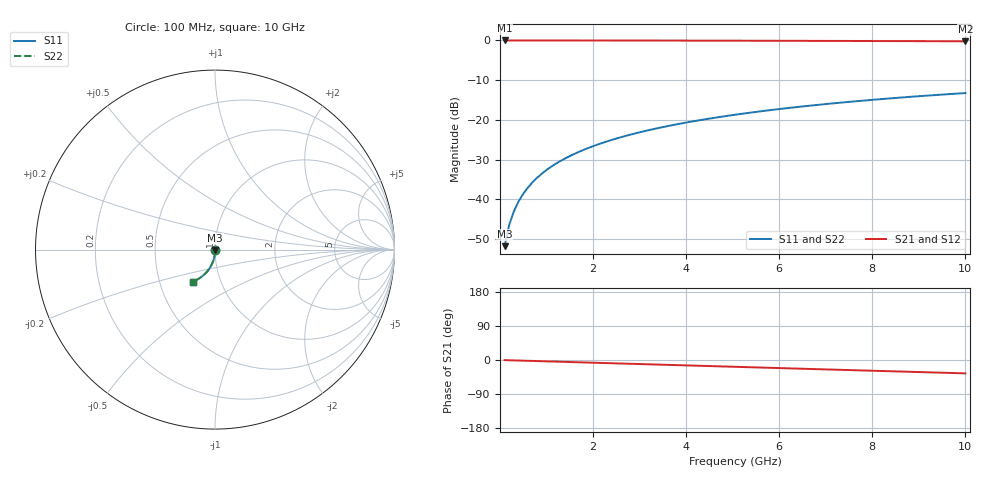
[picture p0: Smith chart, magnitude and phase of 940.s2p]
# Hz S RI R 50.00
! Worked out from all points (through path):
!   100 points, 100 MHz to 10 GHz, reference 50 ohm
!   highest |S21| = -0.01 dB at 100 MHz (marker M1); lowest = -0.2 dB at 10 GHz (marker M2)
!   group delay of S21, straight-line fit = 9.81 ps
!   lowest |S11| = -51.8 dB at 100 MHz (marker M3), VSWR 1.01, Z = 50.1 - j0.234 ohm
!   |S11| at or under -10 dB: start of sweep to end of sweep
!   |S22| runs from -51.8 to -13.3 dB; largest |S21 - S12| = 0
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1e8  0.00105 -0.00234  0.9989 -0.0062  0.9989 -0.0062  0.00105 -0.00234
2e8  0.00101 -0.00468  0.9988 -0.0124  0.9988 -0.0124  0.00101 -0.00468
3e8  0.00094 -0.00701  0.9987 -0.0186  0.9987 -0.0186  0.00094 -0.00701
4e8  0.000839 -0.00935  0.9985 -0.0248  0.9985 -0.0248  0.000839 -0.00935
5e8  0.000708 -0.0117  0.9983 -0.031  0.9983 -0.031  0.000708 -0.0117
6e8  0.000548 -0.014  0.9981 -0.0372  0.9981 -0.0372  0.000548 -0.014
7e8  0.000358 -0.0164  0.9978 -0.0434  0.9978 -0.0434  0.000358 -0.0164
8e8  0.00014 -0.0187  0.9975 -0.0496  0.9975 -0.0496  0.00014 -0.0187
9e8  -0.000108 -0.021  0.9971 -0.0558  0.9971 -0.0558  -0.000108 -0.021
1.1e9  -0.00069 -0.0257  0.9962 -0.0681  0.9962 -0.0681  -0.00069 -0.0257
1.4e9  -0.00178 -0.0326  0.9945 -0.0867  0.9945 -0.0867  -0.00178 -0.0326
1.8e9  -0.00363 -0.0418  0.9917 -0.1113  0.9917 -0.1113  -0.00363 -0.0418
2.1e9  -0.00532 -0.0486  0.9891 -0.1297  0.9891 -0.1297  -0.00532 -0.0486
2.5e9  -0.00796 -0.0576  0.9851 -0.1541  0.9851 -0.1541  -0.00796 -0.0576
2.9e9  -0.011 -0.0664  0.9804 -0.1784  0.9804 -0.1784  -0.011 -0.0664
3.4e9  -0.0155 -0.0772  0.9735 -0.2086  0.9735 -0.2086  -0.0155 -0.0772
4.2e9  -0.024 -0.0939  0.9604 -0.2561  0.9604 -0.2561  -0.024 -0.0939
5.1e9  -0.0355 -0.1115  0.9425 -0.3084  0.9425 -0.3084  -0.0355 -0.1115
5.9e9  -0.0472 -0.1259  0.9241 -0.3537  0.9241 -0.3537  -0.0472 -0.1259
6.7e9  -0.0602 -0.1391  0.9033 -0.3977  0.9033 -0.3977  -0.0602 -0.1391
8.4e9  -0.0917 -0.1624  0.8518 -0.4862  0.8518 -0.4862  -0.0917 -0.1624
1e10  -0.1248 -0.1779  0.7955 -0.5626  0.7955 -0.5626  -0.1248 -0.1779
